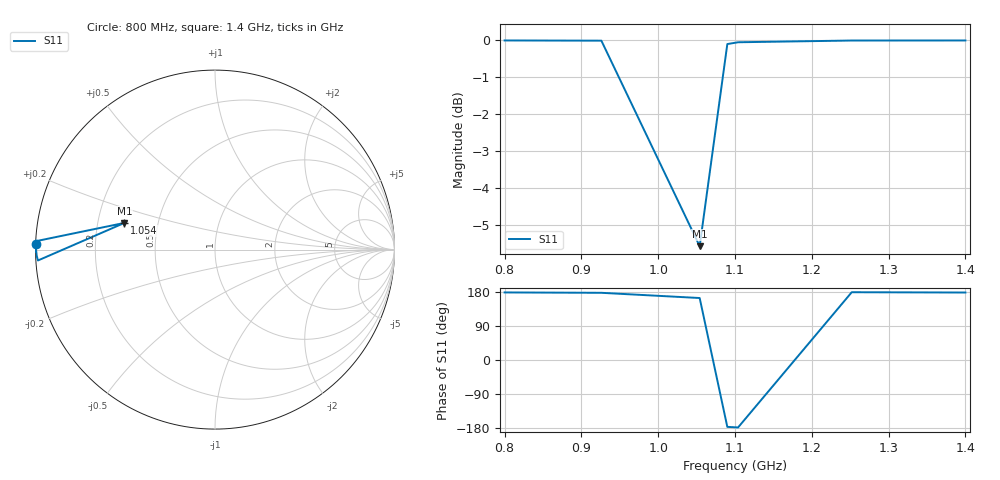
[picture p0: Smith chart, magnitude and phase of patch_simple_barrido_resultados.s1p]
! Actual solver data extracted from the last Sonnet export block.
! Discrete calculated frequencies only; no interpolation or simulated new points.
# GHZ S RI R 50.00000
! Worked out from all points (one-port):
!   7 points, 800 MHz to 1.4 GHz, reference 50 ohm
!   lowest |S11| = -5.6 dB at 1.054 GHz (marker M1), VSWR 3.22, Z = 15.8 + j6.51 ohm
!   |S11| at or under -10 dB: nowhere
!   S11 on the Smith chart (normalised r, x): 800 MHz: 0.00, +0.01; 1.054 GHz: 0.32, +0.13; 1.4 GHz: 0.00, +0.02
0.8  -0.9991 0.0297
0.926  -0.9978 0.0469
1.054  -0.5042 0.1488
1.09  -0.9864 -0.0606
1.104  -0.9933 -0.0348
1.252  -0.9991 0.0201
1.4  -0.9989 0.0337
